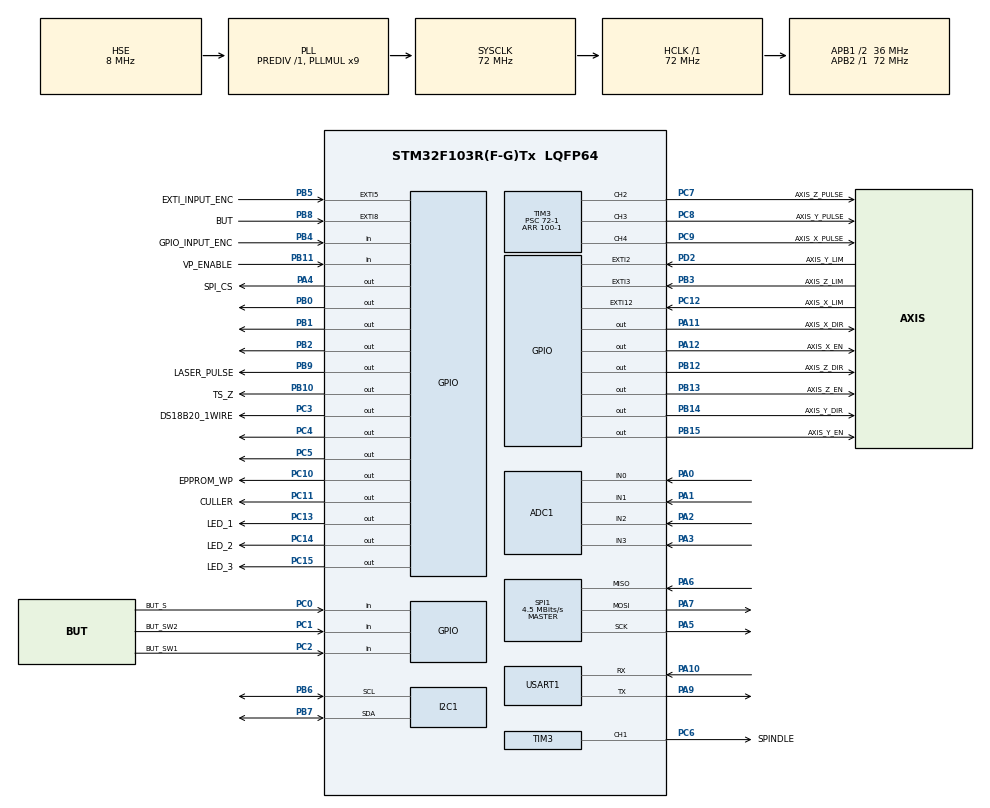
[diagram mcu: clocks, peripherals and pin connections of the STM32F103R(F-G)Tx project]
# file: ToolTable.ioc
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ADC1.Channel-0\#ChannelRegularConversion=ADC_CHANNEL_0
ADC1.NbrOfConversionFlag=1
ADC1.Rank-0\#ChannelRegularConversion=1
ADC1.SamplingTime-0\#ChannelRegularConversion=ADC_SAMPLETIME_1CYCLE_5
ADC1.master=1
Dma.Request0=USART1_RX
Dma.USART1_RX.0.Direction=DMA_PERIPH_TO_MEMORY
Dma.USART1_RX.0.Instance=DMA1_Channel5
Dma.USART1_RX.0.MemDataAlignment=DMA_MDATAALIGN_BYTE
Dma.USART1_RX.0.MemInc=DMA_MINC_ENABLE
Dma.USART1_RX.0.Mode=DMA_CIRCULAR
Dma.USART1_RX.0.PeriphDataAlignment=DMA_PDATAALIGN_BYTE
Dma.USART1_RX.0.PeriphInc=DMA_PINC_DISABLE
Dma.USART1_RX.0.Priority=DMA_PRIORITY_LOW
FATFS._MAX_SS=2048
Mcu.Family=STM32F1
Mcu.Name=STM32F103R(F-G)Tx
Mcu.Package=LQFP64
NVIC.DMA1_Channel5_IRQn=true\:0\:0\:false\:false\:true\:false\:true\:true
NVIC.EXTI15_10_IRQn=true\:0\:0\:false\:false\:true\:true\:true\:true
NVIC.EXTI2_IRQn=true\:0\:0\:false\:false\:true\:true\:true\:true
NVIC.EXTI3_IRQn=true\:0\:0\:false\:false\:true\:true\:true\:true
NVIC.EXTI9_5_IRQn=true\:0\:0\:false\:false\:true\:true\:true\:true
NVIC.PriorityGroup=NVIC_PRIORITYGROUP_4
NVIC.TIM1_TRG_COM_TIM11_IRQn=true\:0\:0\:true\:false\:true\:true\:true\:true
NVIC.TIM3_IRQn=true\:0\:0\:false\:false\:true\:true\:true\:true
NVIC.TIM8_TRG_COM_TIM14_IRQn=true\:0\:0\:false\:false\:true\:true\:true\:true
NVIC.USART1_IRQn=true\:0\:0\:false\:false\:true\:true\:true\:true
PA0-WKUP.Signal=ADCx_IN0
PA1.Signal=ADCx_IN1
PA10.Mode=Asynchronous
PA10.Signal=USART1_RX
PA11.GPIO_Label=AXIS_X_DIR
PA11.Signal=GPIO_Output
PA12.GPIO_Label=AXIS_X_EN
PA12.Signal=GPIO_Output
PA13.Mode=Serial_Wire
PA13.Signal=SYS_JTMS-SWDIO
PA14.Mode=Serial_Wire
PA14.Signal=SYS_JTCK-SWCLK
PA2.Signal=ADCx_IN2
PA3.Signal=ADCx_IN3
PA4.GPIO_Label=SPI_CS
PA4.Signal=GPIO_Output
PA5.Mode=Full_Duplex_Master
PA5.Signal=SPI1_SCK
PA6.Mode=Full_Duplex_Master
PA6.Signal=SPI1_MISO
PA7.Mode=Full_Duplex_Master
PA7.Signal=SPI1_MOSI
PA9.Mode=Asynchronous
PA9.Signal=USART1_TX
PB0.Signal=GPIO_Output
PB1.Signal=GPIO_Output
PB10.GPIO_Label=TS_Z
PB10.Signal=GPIO_Output
PB11.GPIO_Label=VP_ENABLE
PB11.Signal=GPIO_Input
PB12.GPIO_Label=AXIS_Z_DIR
PB12.Signal=GPIO_Output
PB13.GPIO_Label=AXIS_Z_EN
PB13.Signal=GPIO_Output
PB14.GPIO_Label=AXIS_Y_DIR
PB14.PinState=GPIO_PIN_SET
PB14.Signal=GPIO_Output
PB15.GPIO_Label=AXIS_Y_EN
PB15.Signal=GPIO_Output
PB2.Signal=GPIO_Output
PB3.GPIO_Label=AXIS_Z_LIM
PB3.GPIO_ModeDefaultEXTI=GPIO_MODE_IT_RISING_FALLING
PB3.GPIO_PuPd=GPIO_PULLUP
PB3.Signal=GPXTI3
PB4.GPIO_Label=GPIO_INPUT_ENC
PB4.GPIO_PuPd=GPIO_PULLUP
PB4.Signal=GPIO_Input
PB5.GPIO_Label=EXTI_INPUT_ENC
PB5.GPIO_ModeDefaultEXTI=GPIO_MODE_IT_FALLING
PB5.GPIO_PuPd=GPIO_PULLUP
PB5.Signal=GPXTI5
PB6.Mode=I2C
PB6.Signal=I2C1_SCL
PB7.Mode=I2C
PB7.Signal=I2C1_SDA
PB8.GPIO_Label=BUT
PB8.GPIO_ModeDefaultEXTI=GPIO_MODE_IT_RISING_FALLING
PB8.GPIO_PuPd=GPIO_NOPULL
PB8.Signal=GPXTI8
PB9.GPIO_Label=LASER_PULSE
PB9.Signal=GPIO_Output
PC0.GPIO_Label=BUT_S
PC0.Signal=GPIO_Input
PC1.GPIO_Label=BUT_SW2
PC1.Signal=GPIO_Input
PC10.GPIO_Label=EPPROM_WP
PC10.Signal=GPIO_Output
PC11.GPIO_Label=CULLER
PC11.Signal=GPIO_Output
PC12.GPIO_Label=AXIS_X_LIM
PC12.GPIO_ModeDefaultEXTI=GPIO_MODE_IT_RISING_FALLING
PC12.GPIO_PuPd=GPIO_PULLUP
PC12.Signal=GPXTI12
PC13-TAMPER-RTC.GPIO_Label=LED_1
PC13-TAMPER-RTC.Signal=GPIO_Output
PC14-OSC32_IN.GPIO_Label=LED_2
PC14-OSC32_IN.Signal=GPIO_Output
PC15-OSC32_OUT.GPIO_Label=LED_3
PC15-OSC32_OUT.Signal=GPIO_Output
PC2.GPIO_Label=BUT_SW1
PC2.Signal=GPIO_Input
PC3.GPIO_Label=DS18B20_1WIRE
PC3.Signal=GPIO_Output
PC4.Signal=GPIO_Output
PC5.Signal=GPIO_Output
PC6.GPIO_Label=SPINDLE
PC6.Signal=S_TIM3_CH1
PC7.GPIO_Label=AXIS_Z_PULSE
PC7.Signal=S_TIM3_CH2
PC8.GPIO_Label=AXIS_Y_PULSE
PC8.Signal=S_TIM3_CH3
PC9.GPIO_Label=AXIS_X_PULSE
PC9.Signal=S_TIM3_CH4
PD0-OSC_IN.Mode=HSE-External-Oscillator
PD0-OSC_IN.Signal=RCC_OSC_IN
PD1-OSC_OUT.Mode=HSE-External-Oscillator
PD1-OSC_OUT.Signal=RCC_OSC_OUT
PD2.GPIO_Label=AXIS_Y_LIM
PD2.GPIO_ModeDefaultEXTI=GPIO_MODE_IT_RISING_FALLING
PD2.GPIO_PuPd=GPIO_PULLUP
PD2.Signal=GPXTI2
ProjectManager.HeapSize=0x200
ProjectManager.StackSize=0x400
ProjectManager.TargetToolchain=STM32CubeIDE
RCC.ADCPresc=RCC_ADCPCLK2_DIV6
RCC.AHBFreq_Value=72000000
RCC.APB1CLKDivider=RCC_HCLK_DIV2
RCC.APB1Freq_Value=36000000
RCC.APB1TimFreq_Value=72000000
RCC.APB2Freq_Value=72000000
RCC.APB2TimFreq_Value=72000000
RCC.HCLKFreq_Value=72000000
RCC.PLLMUL=RCC_PLL_MUL9
RCC.PLLSourceVirtual=RCC_PLLSOURCE_HSE
RCC.SYSCLKFreq_VALUE=72000000
RCC.SYSCLKSource=RCC_SYSCLKSOURCE_PLLCLK
RCC.USBFreq_Value=72000000
SH.ADCx_IN0.0=ADC1_IN0,IN0
SH.ADCx_IN1.0=ADC1_IN1,IN1
SH.ADCx_IN2.0=ADC1_IN2,IN2
SH.ADCx_IN3.0=ADC1_IN3,IN3
SH.S_TIM3_CH1.0=TIM3_CH1,PWM Generation1 CH1
SH.S_TIM3_CH2.0=TIM3_CH2,PWM Generation2 CH2
SH.S_TIM3_CH3.0=TIM3_CH3,PWM Generation3 CH3
SH.S_TIM3_CH4.0=TIM3_CH4,PWM Generation4 CH4
SPI1.BaudRatePrescaler=SPI_BAUDRATEPRESCALER_16
SPI1.CalculateBaudRate=4.5 MBits/s
SPI1.Direction=SPI_DIRECTION_2LINES
SPI1.Mode=SPI_MODE_MASTER
SPI1.VirtualType=VM_MASTER
TIM11.Period=10-1
TIM11.Prescaler=72-1
TIM14.Period=10-1
TIM14.Prescaler=36-1
TIM3.Channel-PWM\ Generation1\ CH1=TIM_CHANNEL_1
TIM3.Channel-PWM\ Generation2\ CH2=TIM_CHANNEL_2
TIM3.Channel-PWM\ Generation3\ CH3=TIM_CHANNEL_3
TIM3.Channel-PWM\ Generation4\ CH4=TIM_CHANNEL_4
TIM3.Period=100-1
TIM3.Prescaler=72-1
USART1.VirtualMode=VM_ASYNC
VP_FATFS_VS_Generic.Mode=User_defined
VP_TIM11_VS_ClockSourceINT.Mode=Enable_Timer
VP_TIM14_VS_ClockSourceINT.Mode=Enable_Timer
VP_TIM3_VS_ClockSourceINT.Mode=Internal
board=custom

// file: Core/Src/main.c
/* USER CODE BEGIN Header */
/**
  ******************************************************************************
  * @file           : main.c
  * @brief          : Main program body
  ******************************************************************************
  * @attention
  *
  * Copyright (c) 2026 STMicroelectronics.
  * All rights reserved.
  *
  * This software is licensed under terms that can be found in the LICENSE file
  * in the root directory of this software component.
  * If no LICENSE file comes with this software, it is provided AS-IS.
  *
  ******************************************************************************
  */
/* USER CODE END Header */
#include "main.h"
#include "fatfs.h"

/* USER CODE BEGIN Includes */
#include "stdio.h"
#include <stdbool.h>

#include "../lib/LCD2004.h"
#include "../lib/SD.h"
#include "../lib/tableTool.h"
#include "../lib/g_code.h"
/* USER CODE END Includes */

ADC_HandleTypeDef hadc1;

I2C_HandleTypeDef hi2c1;

SPI_HandleTypeDef hspi1;

TIM_HandleTypeDef htim3;
TIM_HandleTypeDef htim11;
TIM_HandleTypeDef htim14;

UART_HandleTypeDef huart1;
DMA_HandleTypeDef hdma_usart1_rx;

/* USER CODE BEGIN PV */
/********************************************************/

/********************************************************/
uint16_t time = 0;
uint32_t idle_tick;
extern FATFS fs;
extern FIL fil;
extern Tool_Typedef tTool;

//Point_t point;
/********************************************************/

/********************************************************/
/* USER CODE END PV */

void SystemClock_Config(void);
static void MX_GPIO_Init(void);
static void MX_DMA_Init(void);
static void MX_I2C1_Init(void);
static void MX_SPI1_Init(void);
static void MX_TIM14_Init(void);
static void MX_USART1_UART_Init(void);
static void MX_TIM11_Init(void);
static void MX_TIM3_Init(void);
static void MX_ADC1_Init(void);

int main(void)
{

  /* MCU Configuration--------------------------------------------------------*/

  /* Reset of all peripherals, Initializes the Flash interface and the Systick. */
  HAL_Init();

  /* Configure the system clock */
  SystemClock_Config();

  /* Initialize all configured peripherals */
  MX_GPIO_Init();
  MX_DMA_Init();
  MX_I2C1_Init();
  MX_SPI1_Init();
  MX_TIM14_Init();
  MX_USART1_UART_Init();
  MX_FATFS_Init();
  MX_TIM11_Init();
  MX_TIM3_Init();
  MX_ADC1_Init();
  /* USER CODE BEGIN 2 */

  tInit();
  LCD_Init(0x4E, 20, 4);
  LCD_Clear();
  LCD_SetCursor(0, 0);
  LCD_WriteString("Reset");
  LCD_SetCursor(1, 0);
  LCD_WriteString("Coordinates...");

//  tHome();
//  LCD_Clear();

//  LCD_SetCursor(0, 0);
//  LCD_WriteString("Tool ready");
//
//  LCD_SetCursor(1, 0);
//  LCD_WriteString("Please, press");
//  LCD_SetCursor(2, 0);
//  LCD_WriteString("enter button");
//
//  while(!tTool.Encoder.Button_state) {}
//  tTool.Encoder.Button_state = 0;

//  LCD_Clear();
//  LCD_SetCursor(0, 1);
//  LCD_WriteString(":Hand mode");
//  LCD_SetCursor(1, 1);
//  LCD_WriteString(":USB mode");
//  LCD_SetCursor(2, 1);
//  LCD_WriteString(":SD mode");
//  LCD_SetCursor(3, 1);
//  LCD_WriteString(":Settings");
//
//  LCD_SetCursor(0, 0);
//  LCD_WriteChar(0x7E);
//
//  uint8_t disp_pos = 0;

  /**************************************************************************/
//  while(1) {
//	  if (tTool.Encoder.count_last_rotate > 0) {
//		  if (tTool.Encoder.current_rotate_side == Forward) {
//			  if (disp_pos < 4) disp_pos++;
//			  if (disp_pos < 4) {
//				  if (disp_pos != 0) {
//					  LCD_SetCursor(disp_pos - 1, 0);
//					  LCD_WriteChar(' ');
//				  }
//				  LCD_SetCursor(disp_pos, 0);
//				  LCD_WriteChar(0x7E);
//			  }
//		  }
//		  else {
//			  if (disp_pos > 0) disp_pos--;
//			  if ((disp_pos <= 3) && (disp_pos >= 0)) {
//				  if (disp_pos != 3) {
//					  LCD_SetCursor(disp_pos + 1, 0);
//					  LCD_WriteChar(' ');
//				  }
//				  LCD_SetCursor(disp_pos, 0);
//				  LCD_WriteChar(0x7E);
//			  }
//		  }
//		  tTool.Encoder.count_last_rotate = 0;
//	  }
//	  if (tTool.Encoder.Button_state == true) {
//		  tTool.Encoder.Button_state = false;
//		  if (disp_pos == 0) {
//			  tTool.WorkMode = Hand_Mode;
//			  LCD_Clear();
//			  LCD_SetCursor(0, 0);
//			  LCD_WriteString("Mode:Hand_X");
//
//			  char buf[3][20] = {0, };
//			  float x = 0, y = 0, z = 0;
//			  float trg_cord = 0;
//			  enum sid_t {
//				  _x = 0,
//				  _y,
//				  _z,
//			  } sid;
//			  sid = _x;
//			  while(1) {
//				  if (tTool.Encoder.count_last_rotate >= 1) {
//					  if (tTool.Encoder.current_rotate_side == Forward) {
////						  x += tTool.Settings.stpLineValue;
//						  trg_cord += 5;
//					  }
//					  else if (tTool.Encoder.current_rotate_side == BackForward) {
//
////						  if (x > tTool.Settings.stpLineValue) x -= tTool.Settings.stpLineValue;
//						  if (trg_cord > 5) trg_cord -= 5;
//					  }
//					  if (sid == _x) {
//						  x = trg_cord;
//						  tMoveGlobal(x, y, z);
//					  }
//					  else if (sid == _y) {
//						  y = trg_cord;
//						  tMoveGlobal(x, y, z);
//					  }
//					  else if (sid == _z) {
//						  z = trg_cord;
//						  tMoveGlobal(x, y, z);
//					  }
//
//
////					  LCD_SetCursor(1, 1);
////					  sprintf(buf[0], "X:%.4f    ", tTool.head.tAxis[0].current_pos_coord);
////					  LCD_WriteString(buf[0]);
////					  LCD_SetCursor(2, 1);
////					  sprintf(buf[1], "Y:%.4f    ", tTool.head.tAxis[1].current_pos_coord);
////					  LCD_WriteString(buf[1]);
////					  LCD_SetCursor(3, 1);
////					  sprintf(buf[2], "Z:%.4f    ", tTool.head.tAxis[2].current_pos_coord);
////					  LCD_WriteString(buf[2]);
//
//					  tTool.Encoder.count_last_rotate = 0;
//				  }
//				  if (tTool.Encoder.Button_state == true) {
//					  tTool.Encoder.Button_state = false;
//
//					  if (sid == _x) x = trg_cord;
//					  else if (sid == _y) y = trg_cord;
//					  else if (sid == _z) z = trg_cord;
//					  trg_cord = 0;
//
//					  LCD_Clear();
//
//					  LCD_SetCursor(0, 1);
//					  LCD_WriteString(":Exit");
//					  LCD_SetCursor(1, 1);
//					  LCD_WriteString(":AXIS_X");
//					  LCD_SetCursor(2, 1);
//					  LCD_WriteString(":AXIS_Y");
//					  LCD_SetCursor(3, 1);
//					  LCD_WriteString(":AXIS_Z");
//					  LCD_SetCursor(0, 0);
//					  LCD_WriteChar(0x7E);
//
//					  disp_pos = 0;
//					  while (1) {
//						  if (tTool.Encoder.count_last_rotate > 0) {
//							  if (tTool.Encoder.current_rotate_side == Forward) {
//								  if (disp_pos < 3) disp_pos++;
//								  if (disp_pos < 4) {
//									  if (disp_pos != 1) {
//										  LCD_SetCursor(disp_pos - 1, 0);
//										  LCD_WriteChar(' ');
//									  }
//									  LCD_SetCursor(disp_pos, 0);
//									  LCD_WriteChar(0x7E);
//								  }
//							  }
//							  else {
//								  if (disp_pos > 1) disp_pos--;
//								  if ((disp_pos <= 3) && (disp_pos >= 0)) {
//									  if (disp_pos != 3) {
//										  LCD_SetCursor(disp_pos + 1, 0);
//										  LCD_WriteChar(' ');
//									  }
//									  LCD_SetCursor(disp_pos, 0);
//									  LCD_WriteChar(0x7E);
//								  }
//							  }
//							  tTool.Encoder.count_last_rotate = 0;
//						  }
//						  if (tTool.Encoder.Button_state == true) {
//							  if (disp_pos == 4) disp_pos = 3;
//							  if (disp_pos == 1) sid = _x;
//							  else if (disp_pos == 2) sid = _y;
//							  else if (disp_pos == 3) sid = _z;
//
//							  LCD_Clear();
//							  LCD_SetCursor(0, 0);
//							  if (sid == _x) LCD_WriteString("Mode:Hand_X");
//							  else if (sid == _y) LCD_WriteString("Mode:Hand_Y");
//							  else if (sid == _z) LCD_WriteString("Mode:Hand_Z");
//
//							  tTool.Encoder.Button_state = false;
//							  break;
//						  }
//					  }
//				  }
//			  }
//		  }
//		  else if (disp_pos == 1) {
//			  LCD_Clear();
//			  LCD_SetCursor(0, 0);
//			  LCD_WriteString("Mode:USB (AUTO)");
//
//			  break;
//		  }
//		  tTool.Encoder.Button_state = false;
//	  }
//  }

  /* USER CODE END 2 */

  /* Infinite loop */
  /* USER CODE BEGIN WHILE */
  while (1)
  {

	  HAL_Delay(500);
	  LED_FREE_OP_TGL;

    /* USER CODE END WHILE */

  }
}

void SystemClock_Config(void)
{
  RCC_OscInitTypeDef RCC_OscInitStruct = {0};
  RCC_ClkInitTypeDef RCC_ClkInitStruct = {0};
  RCC_PeriphCLKInitTypeDef PeriphClkInit = {0};

  /** Initializes the RCC Oscillators according to the specified parameters
  * in the RCC_OscInitTypeDef structure.
  */
  RCC_OscInitStruct.OscillatorType = RCC_OSCILLATORTYPE_HSE;
  RCC_OscInitStruct.HSEState = RCC_HSE_ON;
  RCC_OscInitStruct.HSEPredivValue = RCC_HSE_PREDIV_DIV1;
  RCC_OscInitStruct.HSIState = RCC_HSI_ON;
  RCC_OscInitStruct.PLL.PLLState = RCC_PLL_ON;
  RCC_OscInitStruct.PLL.PLLSource = RCC_PLLSOURCE_HSE;
  RCC_OscInitStruct.PLL.PLLMUL = RCC_PLL_MUL9;
  if (HAL_RCC_OscConfig(&RCC_OscInitStruct) != HAL_OK)
  {
    Error_Handler();
  }

  /** Initializes the CPU, AHB and APB buses clocks
  */
  RCC_ClkInitStruct.ClockType = RCC_CLOCKTYPE_HCLK|RCC_CLOCKTYPE_SYSCLK
                              |RCC_CLOCKTYPE_PCLK1|RCC_CLOCKTYPE_PCLK2;
  RCC_ClkInitStruct.SYSCLKSource = RCC_SYSCLKSOURCE_PLLCLK;
  RCC_ClkInitStruct.AHBCLKDivider = RCC_SYSCLK_DIV1;
  RCC_ClkInitStruct.APB1CLKDivider = RCC_HCLK_DIV2;
  RCC_ClkInitStruct.APB2CLKDivider = RCC_HCLK_DIV1;

  if (HAL_RCC_ClockConfig(&RCC_ClkInitStruct, FLASH_LATENCY_2) != HAL_OK)
  {
    Error_Handler();
  }
  PeriphClkInit.PeriphClockSelection = RCC_PERIPHCLK_ADC;
  PeriphClkInit.AdcClockSelection = RCC_ADCPCLK2_DIV6;
  if (HAL_RCCEx_PeriphCLKConfig(&PeriphClkInit) != HAL_OK)
  {
    Error_Handler();
  }
}

static void MX_ADC1_Init(void)
{

  ADC_ChannelConfTypeDef sConfig = {0};

  /** Common config
  */
  hadc1.Instance = ADC1;
  hadc1.Init.ScanConvMode = ADC_SCAN_DISABLE;
  hadc1.Init.ContinuousConvMode = DISABLE;
  hadc1.Init.DiscontinuousConvMode = DISABLE;
  hadc1.Init.ExternalTrigConv = ADC_SOFTWARE_START;
  hadc1.Init.DataAlign = ADC_DATAALIGN_RIGHT;
  hadc1.Init.NbrOfConversion = 1;
  if (HAL_ADC_Init(&hadc1) != HAL_OK)
  {
    Error_Handler();
  }

  /** Configure Regular Channel
  */
  sConfig.Channel = ADC_CHANNEL_0;
  sConfig.Rank = ADC_REGULAR_RANK_1;
  sConfig.SamplingTime = ADC_SAMPLETIME_1CYCLE_5;
  if (HAL_ADC_ConfigChannel(&hadc1, &sConfig) != HAL_OK)
  {
    Error_Handler();
  }

}

static void MX_I2C1_Init(void)
{

  hi2c1.Instance = I2C1;
  hi2c1.Init.ClockSpeed = 100000;
  hi2c1.Init.DutyCycle = I2C_DUTYCYCLE_2;
  hi2c1.Init.OwnAddress1 = 0;
  hi2c1.Init.AddressingMode = I2C_ADDRESSINGMODE_7BIT;
  hi2c1.Init.DualAddressMode = I2C_DUALADDRESS_DISABLE;
  hi2c1.Init.OwnAddress2 = 0;
  hi2c1.Init.GeneralCallMode = I2C_GENERALCALL_DISABLE;
  hi2c1.Init.NoStretchMode = I2C_NOSTRETCH_DISABLE;
  if (HAL_I2C_Init(&hi2c1) != HAL_OK)
  {
    Error_Handler();
  }

}

static void MX_SPI1_Init(void)
{

  /* SPI1 parameter configuration*/
  hspi1.Instance = SPI1;
  hspi1.Init.Mode = SPI_MODE_MASTER;
  hspi1.Init.Direction = SPI_DIRECTION_2LINES;
  hspi1.Init.DataSize = SPI_DATASIZE_8BIT;
  hspi1.Init.CLKPolarity = SPI_POLARITY_LOW;
  hspi1.Init.CLKPhase = SPI_PHASE_1EDGE;
  hspi1.Init.NSS = SPI_NSS_SOFT;
  hspi1.Init.BaudRatePrescaler = SPI_BAUDRATEPRESCALER_16;
  hspi1.Init.FirstBit = SPI_FIRSTBIT_MSB;
  hspi1.Init.TIMode = SPI_TIMODE_DISABLE;
  hspi1.Init.CRCCalculation = SPI_CRCCALCULATION_DISABLE;
  hspi1.Init.CRCPolynomial = 10;
  if (HAL_SPI_Init(&hspi1) != HAL_OK)
  {
    Error_Handler();
  }

}

static void MX_TIM3_Init(void)
{

  TIM_ClockConfigTypeDef sClockSourceConfig = {0};
  TIM_MasterConfigTypeDef sMasterConfig = {0};
  TIM_OC_InitTypeDef sConfigOC = {0};

  htim3.Instance = TIM3;
  htim3.Init.Prescaler = 72-1;
  htim3.Init.CounterMode = TIM_COUNTERMODE_UP;
  htim3.Init.Period = 100-1;
  htim3.Init.ClockDivision = TIM_CLOCKDIVISION_DIV1;
  htim3.Init.AutoReloadPreload = TIM_AUTORELOAD_PRELOAD_DISABLE;
  if (HAL_TIM_Base_Init(&htim3) != HAL_OK)
  {
    Error_Handler();
  }
  sClockSourceConfig.ClockSource = TIM_CLOCKSOURCE_INTERNAL;
  if (HAL_TIM_ConfigClockSource(&htim3, &sClockSourceConfig) != HAL_OK)
  {
    Error_Handler();
  }
  if (HAL_TIM_PWM_Init(&htim3) != HAL_OK)
  {
    Error_Handler();
  }
  sMasterConfig.MasterOutputTrigger = TIM_TRGO_RESET;
  sMasterConfig.MasterSlaveMode = TIM_MASTERSLAVEMODE_DISABLE;
  if (HAL_TIMEx_MasterConfigSynchronization(&htim3, &sMasterConfig) != HAL_OK)
  {
    Error_Handler();
  }
  sConfigOC.OCMode = TIM_OCMODE_PWM1;
  sConfigOC.Pulse = 0;
  sConfigOC.OCPolarity = TIM_OCPOLARITY_HIGH;
  sConfigOC.OCFastMode = TIM_OCFAST_DISABLE;
  if (HAL_TIM_PWM_ConfigChannel(&htim3, &sConfigOC, TIM_CHANNEL_1) != HAL_OK)
  {
    Error_Handler();
  }
  if (HAL_TIM_PWM_ConfigChannel(&htim3, &sConfigOC, TIM_CHANNEL_2) != HAL_OK)
  {
    Error_Handler();
  }
  if (HAL_TIM_PWM_ConfigChannel(&htim3, &sConfigOC, TIM_CHANNEL_3) != HAL_OK)
  {
    Error_Handler();
  }
  if (HAL_TIM_PWM_ConfigChannel(&htim3, &sConfigOC, TIM_CHANNEL_4) != HAL_OK)
  {
    Error_Handler();
  }
  HAL_TIM_MspPostInit(&htim3);

}

static void MX_TIM11_Init(void)
{

  htim11.Instance = TIM11;
  htim11.Init.Prescaler = 72-1;
  htim11.Init.CounterMode = TIM_COUNTERMODE_UP;
  htim11.Init.Period = 10-1;
  htim11.Init.ClockDivision = TIM_CLOCKDIVISION_DIV1;
  htim11.Init.AutoReloadPreload = TIM_AUTORELOAD_PRELOAD_DISABLE;
  if (HAL_TIM_Base_Init(&htim11) != HAL_OK)
  {
    Error_Handler();
  }

}

static void MX_TIM14_Init(void)
{

  htim14.Instance = TIM14;
  htim14.Init.Prescaler = 36-1;
  htim14.Init.CounterMode = TIM_COUNTERMODE_UP;
  htim14.Init.Period = 10-1;
  htim14.Init.ClockDivision = TIM_CLOCKDIVISION_DIV1;
  htim14.Init.AutoReloadPreload = TIM_AUTORELOAD_PRELOAD_DISABLE;
  if (HAL_TIM_Base_Init(&htim14) != HAL_OK)
  {
    Error_Handler();
  }

}

static void MX_USART1_UART_Init(void)
{

  huart1.Instance = USART1;
  huart1.Init.BaudRate = 115200;
  huart1.Init.WordLength = UART_WORDLENGTH_8B;
  huart1.Init.StopBits = UART_STOPBITS_1;
  huart1.Init.Parity = UART_PARITY_NONE;
  huart1.Init.Mode = UART_MODE_TX_RX;
  huart1.Init.HwFlowCtl = UART_HWCONTROL_NONE;
  huart1.Init.OverSampling = UART_OVERSAMPLING_16;
  if (HAL_UART_Init(&huart1) != HAL_OK)
  {
    Error_Handler();
  }

}

static void MX_DMA_Init(void)
{

  /* DMA controller clock enable */
  __HAL_RCC_DMA1_CLK_ENABLE();

  /* DMA interrupt init */
  /* DMA1_Channel5_IRQn interrupt configuration */
  HAL_NVIC_SetPriority(DMA1_Channel5_IRQn, 0, 0);
  HAL_NVIC_EnableIRQ(DMA1_Channel5_IRQn);

}

static void MX_GPIO_Init(void)
{
  GPIO_InitTypeDef GPIO_InitStruct = {0};

  /* GPIO Ports Clock Enable */
  __HAL_RCC_GPIOC_CLK_ENABLE();
  __HAL_RCC_GPIOD_CLK_ENABLE();
  __HAL_RCC_GPIOA_CLK_ENABLE();
  __HAL_RCC_GPIOB_CLK_ENABLE();

  /*Configure GPIO pin Output Level */
  HAL_GPIO_WritePin(GPIOC, LED_1_Pin|LED_2_Pin|LED_3_Pin|DS18B20_1WIRE_Pin
                          |GPIO_PIN_4|GPIO_PIN_5|EPPROM_WP_Pin|CULLER_Pin, GPIO_PIN_RESET);

  /*Configure GPIO pin Output Level */
  HAL_GPIO_WritePin(GPIOA, SPI_CS_Pin|AXIS_X_DIR_Pin|AXIS_X_EN_Pin, GPIO_PIN_RESET);

  /*Configure GPIO pin Output Level */
  HAL_GPIO_WritePin(GPIOB, GPIO_PIN_0|GPIO_PIN_1|GPIO_PIN_2|TS_Z_Pin
                          |AXIS_Z_DIR_Pin|AXIS_Z_EN_Pin|AXIS_Y_EN_Pin|LASER_PULSE_Pin, GPIO_PIN_RESET);

  /*Configure GPIO pin Output Level */
  HAL_GPIO_WritePin(AXIS_Y_DIR_GPIO_Port, AXIS_Y_DIR_Pin, GPIO_PIN_SET);

  /*Configure GPIO pins : LED_1_Pin LED_2_Pin LED_3_Pin DS18B20_1WIRE_Pin
                           PC4 PC5 EPPROM_WP_Pin CULLER_Pin */
  GPIO_InitStruct.Pin = LED_1_Pin|LED_2_Pin|LED_3_Pin|DS18B20_1WIRE_Pin
                          |GPIO_PIN_4|GPIO_PIN_5|EPPROM_WP_Pin|CULLER_Pin;
  GPIO_InitStruct.Mode = GPIO_MODE_OUTPUT_PP;
  GPIO_InitStruct.Pull = GPIO_NOPULL;
  GPIO_InitStruct.Speed = GPIO_SPEED_FREQ_LOW;
  HAL_GPIO_Init(GPIOC, &GPIO_InitStruct);

  /*Configure GPIO pins : BUT_S_Pin BUT_SW2_Pin BUT_SW1_Pin */
  GPIO_InitStruct.Pin = BUT_S_Pin|BUT_SW2_Pin|BUT_SW1_Pin;
  GPIO_InitStruct.Mode = GPIO_MODE_INPUT;
  GPIO_InitStruct.Pull = GPIO_NOPULL;
  HAL_GPIO_Init(GPIOC, &GPIO_InitStruct);

  /*Configure GPIO pins : SPI_CS_Pin AXIS_X_DIR_Pin AXIS_X_EN_Pin */
  GPIO_InitStruct.Pin = SPI_CS_Pin|AXIS_X_DIR_Pin|AXIS_X_EN_Pin;
  GPIO_InitStruct.Mode = GPIO_MODE_OUTPUT_PP;
  GPIO_InitStruct.Pull = GPIO_NOPULL;
  GPIO_InitStruct.Speed = GPIO_SPEED_FREQ_LOW;
  HAL_GPIO_Init(GPIOA, &GPIO_InitStruct);

  /*Configure GPIO pins : PB0 PB1 PB2 TS_Z_Pin
                           AXIS_Z_DIR_Pin AXIS_Z_EN_Pin AXIS_Y_DIR_Pin AXIS_Y_EN_Pin
                           LASER_PULSE_Pin */
  GPIO_InitStruct.Pin = GPIO_PIN_0|GPIO_PIN_1|GPIO_PIN_2|TS_Z_Pin
                          |AXIS_Z_DIR_Pin|AXIS_Z_EN_Pin|AXIS_Y_DIR_Pin|AXIS_Y_EN_Pin
                          |LASER_PULSE_Pin;
  GPIO_InitStruct.Mode = GPIO_MODE_OUTPUT_PP;
  GPIO_InitStruct.Pull = GPIO_NOPULL;
  GPIO_InitStruct.Speed = GPIO_SPEED_FREQ_LOW;
  HAL_GPIO_Init(GPIOB, &GPIO_InitStruct);

  /*Configure GPIO pin : VP_ENABLE_Pin */
  GPIO_InitStruct.Pin = VP_ENABLE_Pin;
  GPIO_InitStruct.Mode = GPIO_MODE_INPUT;
  GPIO_InitStruct.Pull = GPIO_NOPULL;
  HAL_GPIO_Init(VP_ENABLE_GPIO_Port, &GPIO_InitStruct);

  /*Configure GPIO pin : AXIS_X_LIM_Pin */
  GPIO_InitStruct.Pin = AXIS_X_LIM_Pin;
  GPIO_InitStruct.Mode = GPIO_MODE_IT_RISING_FALLING;
  GPIO_InitStruct.Pull = GPIO_PULLUP;
  HAL_GPIO_Init(AXIS_X_LIM_GPIO_Port, &GPIO_InitStruct);

  /*Configure GPIO pin : AXIS_Y_LIM_Pin */
  GPIO_InitStruct.Pin = AXIS_Y_LIM_Pin;
  GPIO_InitStruct.Mode = GPIO_MODE_IT_RISING_FALLING;
  GPIO_InitStruct.Pull = GPIO_PULLUP;
  HAL_GPIO_Init(AXIS_Y_LIM_GPIO_Port, &GPIO_InitStruct);

  /*Configure GPIO pin : AXIS_Z_LIM_Pin */
  GPIO_InitStruct.Pin = AXIS_Z_LIM_Pin;
  GPIO_InitStruct.Mode = GPIO_MODE_IT_RISING_FALLING;
  GPIO_InitStruct.Pull = GPIO_PULLUP;
  HAL_GPIO_Init(AXIS_Z_LIM_GPIO_Port, &GPIO_InitStruct);

  /*Configure GPIO pin : GPIO_INPUT_ENC_Pin */
  GPIO_InitStruct.Pin = GPIO_INPUT_ENC_Pin;
  GPIO_InitStruct.Mode = GPIO_MODE_INPUT;
  GPIO_InitStruct.Pull = GPIO_PULLUP;
  HAL_GPIO_Init(GPIO_INPUT_ENC_GPIO_Port, &GPIO_InitStruct);

  /*Configure GPIO pin : EXTI_INPUT_ENC_Pin */
  GPIO_InitStruct.Pin = EXTI_INPUT_ENC_Pin;
  GPIO_InitStruct.Mode = GPIO_MODE_IT_FALLING;
  GPIO_InitStruct.Pull = GPIO_PULLUP;
  HAL_GPIO_Init(EXTI_INPUT_ENC_GPIO_Port, &GPIO_InitStruct);

  /*Configure GPIO pin : BUT_Pin */
  GPIO_InitStruct.Pin = BUT_Pin;
  GPIO_InitStruct.Mode = GPIO_MODE_IT_RISING_FALLING;
  GPIO_InitStruct.Pull = GPIO_NOPULL;
  HAL_GPIO_Init(BUT_GPIO_Port, &GPIO_InitStruct);

  /* EXTI interrupt init*/
  HAL_NVIC_SetPriority(EXTI2_IRQn, 0, 0);
  HAL_NVIC_EnableIRQ(EXTI2_IRQn);

  HAL_NVIC_SetPriority(EXTI3_IRQn, 0, 0);
  HAL_NVIC_EnableIRQ(EXTI3_IRQn);

  HAL_NVIC_SetPriority(EXTI9_5_IRQn, 0, 0);
  HAL_NVIC_EnableIRQ(EXTI9_5_IRQn);

  HAL_NVIC_SetPriority(EXTI15_10_IRQn, 0, 0);
  HAL_NVIC_EnableIRQ(EXTI15_10_IRQn);

}

void Error_Handler(void)
{
  __disable_irq();
  while (1)
  {
  }
}
